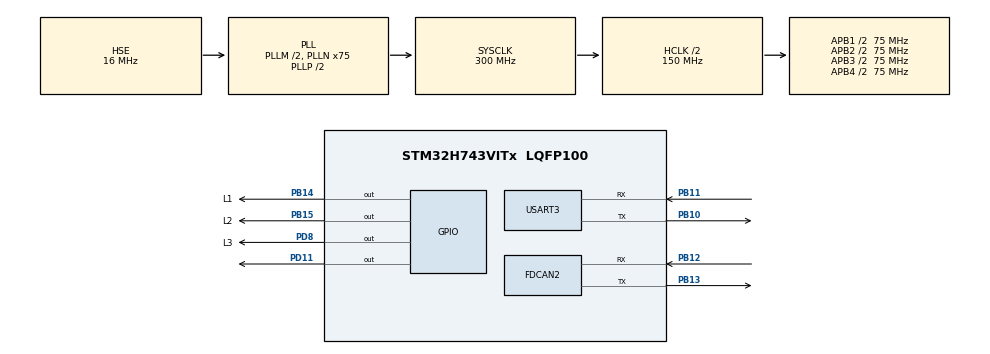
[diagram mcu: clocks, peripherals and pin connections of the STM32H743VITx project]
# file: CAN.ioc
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FDCAN2.AutoRetransmission=ENABLE
FDCAN2.CalculateBaudRateNominal=500000
FDCAN2.CalculateTimeBitNominal=2000
FDCAN2.CalculateTimeQuantumNominal=250.0
FDCAN2.DataPrescaler=1
FDCAN2.DataSyncJumpWidth=1
FDCAN2.DataTimeSeg1=1
FDCAN2.DataTimeSeg2=1
FDCAN2.FrameFormat=FDCAN_FRAME_FD_NO_BRS
FDCAN2.MessageRAMOffset=0
FDCAN2.NominalPrescaler=1
FDCAN2.NominalSyncJumpWidth=1
FDCAN2.NominalTimeSeg1=4
FDCAN2.NominalTimeSeg2=3
FDCAN2.RxFifo0ElmtSize=FDCAN_DATA_BYTES_8
FDCAN2.RxFifo0ElmtsNbr=0
FDCAN2.RxFifo1ElmtSize=FDCAN_DATA_BYTES_8
FDCAN2.StdFiltersNbr=0
FDCAN2.TxElmtSize=FDCAN_DATA_BYTES_8
FDCAN2.TxFifoQueueElmtsNbr=1
FDCAN2.TxFifoQueueMode=FDCAN_TX_FIFO_OPERATION
Mcu.Family=STM32H7
Mcu.Name=STM32H743VITx
Mcu.Package=LQFP100
NVIC.FDCAN2_IT0_IRQn=true\:0\:0\:false\:false\:true\:true\:true\:true
NVIC.PriorityGroup=NVIC_PRIORITYGROUP_4
PB10.Mode=Asynchronous
PB10.Signal=USART3_TX
PB11.Mode=Asynchronous
PB11.Signal=USART3_RX
PB12.Mode=FDCAN_Activate
PB12.Signal=FDCAN2_RX
PB13.Mode=FDCAN_Activate
PB13.Signal=FDCAN2_TX
PB14.GPIO_Label=L1
PB14.Signal=GPIO_Output
PB15.GPIO_Label=L2
PB15.Signal=GPIO_Output
PD11.Signal=GPIO_Output
PD8.GPIO_Label=L3
PD8.Signal=GPIO_Output
PH0-OSC_IN\ (PH0).Mode=HSE-External-Oscillator
PH0-OSC_IN\ (PH0).Signal=RCC_OSC_IN
PH1-OSC_OUT\ (PH1).Mode=HSE-External-Oscillator
PH1-OSC_OUT\ (PH1).Signal=RCC_OSC_OUT
ProjectManager.HeapSize=0x200
ProjectManager.StackSize=0x400
ProjectManager.TargetToolchain=STM32CubeIDE
RCC.ADCFreq_Value=80000000
RCC.APB1Freq_Value=75000000
RCC.APB2Freq_Value=75000000
RCC.APB3Freq_Value=75000000
RCC.APB4Freq_Value=75000000
RCC.CortexFreq_Value=300000000
RCC.D1PPRE=RCC_APB3_DIV2
RCC.D2PPRE1=RCC_APB1_DIV2
RCC.D2PPRE2=RCC_APB2_DIV2
RCC.D3PPRE=RCC_APB4_DIV2
RCC.DIVM1=2
RCC.DIVM2=2
RCC.DIVN1=75
RCC.DIVN2=20
RCC.DIVQ1=12
RCC.DIVQ2=40
RCC.FDCANCLockSelection=RCC_FDCANCLKSOURCE_PLL2
RCC.HCLKFreq_Value=150000000
RCC.HPRE=RCC_HCLK_DIV2
RCC.HSE_VALUE=16000000
RCC.PLLFRACN=0
RCC.PLLSourceVirtual=RCC_PLLSOURCE_HSE
RCC.SYSCLKFreq_VALUE=300000000
RCC.SYSCLKSource=RCC_SYSCLKSOURCE_PLLCLK
RCC.USBFreq_Value=50000000
USART3.VirtualMode-Asynchronous=VM_ASYNC
board=custom

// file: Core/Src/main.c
/* USER CODE BEGIN Header */
/**
  ******************************************************************************
  * @file           : main.c
  * @brief          : Main program body
  ******************************************************************************
  * @attention
  *
  * Copyright (c) 2023 STMicroelectronics.
  * All rights reserved.
  *
  * This software is licensed under terms that can be found in the LICENSE file
  * in the root directory of this software component.
  * If no LICENSE file comes with this software, it is provided AS-IS.
  *
  ******************************************************************************
  */
/* USER CODE END Header */
#include "main.h"

/* USER CODE BEGIN Includes */
#include "string.h"
/* USER CODE END Includes */

FDCAN_HandleTypeDef hfdcan2;

UART_HandleTypeDef huart3;

void SystemClock_Config(void);
static void MX_GPIO_Init(void);
static void MX_FDCAN2_Init(void);
static void MX_USART3_UART_Init(void);

/* USER CODE BEGIN 0 */
FDCAN_TxHeaderTypeDef TxHeader;

uint8_t TxData[8] = {0x01, 0x02, 0x03, 0x04, 0x05, 0x06, 0x07, 0x08};
uint8_t TxData1[8] = {0x08, 0x09, 0x10, 0x11, 0x12, 0x13, 0x14, 0x15};
uint8_t TxData3[8] = {0x16, 0x17, 0x18, 0x19, 0x20, 0x21, 0x22, 0x23};
uint32_t messageID = 0x123; // ID-ul mesajului

uint32_t TxMailbox;

void FDCAN2_SendMessage(uint32_t identifier, uint8_t *data, uint8_t dataLength) {

  TxHeader.Identifier = identifier;
  TxHeader.IdType = FDCAN_STANDARD_ID;
  TxHeader.TxFrameType = FDCAN_DATA_FRAME;
  TxHeader.DataLength = FDCAN_DLC_BYTES_8;

  HAL_FDCAN_AddMessageToTxFifoQ(&hfdcan2, &TxHeader, data);
}

/* USER CODE END 0 */

int main(void)
{

  /* MCU Configuration--------------------------------------------------------*/

  /* Reset of all peripherals, Initializes the Flash interface and the Systick. */
  HAL_Init();

  /* Configure the system clock */
  SystemClock_Config();

  /* Initialize all configured peripherals */
  MX_GPIO_Init();
  MX_FDCAN2_Init();
  MX_USART3_UART_Init();
  /* USER CODE BEGIN 2 */
  HAL_FDCAN_Start(&hfdcan2);

  FDCAN2_SendMessage(messageID, TxData1, sizeof(TxData));
  FDCAN2_SendMessage(messageID, TxData3, sizeof(TxData));
  /* USER CODE END 2 */

  /* Infinite loop */
  /* USER CODE BEGIN WHILE */
  while (1)
  {
	  FDCAN2_SendMessage(messageID, TxData3, sizeof(TxData3));
	  HAL_Delay(100);

    /* USER CODE END WHILE */

  }
}

void SystemClock_Config(void)
{
  RCC_OscInitTypeDef RCC_OscInitStruct = {0};
  RCC_ClkInitTypeDef RCC_ClkInitStruct = {0};

  /** Supply configuration update enable
  */
  HAL_PWREx_ConfigSupply(PWR_LDO_SUPPLY);

  /** Configure the main internal regulator output voltage
  */
  __HAL_PWR_VOLTAGESCALING_CONFIG(PWR_REGULATOR_VOLTAGE_SCALE2);

  while(!__HAL_PWR_GET_FLAG(PWR_FLAG_VOSRDY)) {}

  /** Initializes the RCC Oscillators according to the specified parameters
  * in the RCC_OscInitTypeDef structure.
  */
  RCC_OscInitStruct.OscillatorType = RCC_OSCILLATORTYPE_HSE;
  RCC_OscInitStruct.HSEState = RCC_HSE_ON;
  RCC_OscInitStruct.PLL.PLLState = RCC_PLL_ON;
  RCC_OscInitStruct.PLL.PLLSource = RCC_PLLSOURCE_HSE;
  RCC_OscInitStruct.PLL.PLLM = 2;
  RCC_OscInitStruct.PLL.PLLN = 75;
  RCC_OscInitStruct.PLL.PLLP = 2;
  RCC_OscInitStruct.PLL.PLLQ = 12;
  RCC_OscInitStruct.PLL.PLLR = 2;
  RCC_OscInitStruct.PLL.PLLRGE = RCC_PLL1VCIRANGE_3;
  RCC_OscInitStruct.PLL.PLLVCOSEL = RCC_PLL1VCOWIDE;
  RCC_OscInitStruct.PLL.PLLFRACN = 0;
  if (HAL_RCC_OscConfig(&RCC_OscInitStruct) != HAL_OK)
  {
    Error_Handler();
  }

  /** Initializes the CPU, AHB and APB buses clocks
  */
  RCC_ClkInitStruct.ClockType = RCC_CLOCKTYPE_HCLK|RCC_CLOCKTYPE_SYSCLK
                              |RCC_CLOCKTYPE_PCLK1|RCC_CLOCKTYPE_PCLK2
                              |RCC_CLOCKTYPE_D3PCLK1|RCC_CLOCKTYPE_D1PCLK1;
  RCC_ClkInitStruct.SYSCLKSource = RCC_SYSCLKSOURCE_PLLCLK;
  RCC_ClkInitStruct.SYSCLKDivider = RCC_SYSCLK_DIV1;
  RCC_ClkInitStruct.AHBCLKDivider = RCC_HCLK_DIV2;
  RCC_ClkInitStruct.APB3CLKDivider = RCC_APB3_DIV2;
  RCC_ClkInitStruct.APB1CLKDivider = RCC_APB1_DIV2;
  RCC_ClkInitStruct.APB2CLKDivider = RCC_APB2_DIV2;
  RCC_ClkInitStruct.APB4CLKDivider = RCC_APB4_DIV2;

  if (HAL_RCC_ClockConfig(&RCC_ClkInitStruct, FLASH_LATENCY_2) != HAL_OK)
  {
    Error_Handler();
  }
}

static void MX_FDCAN2_Init(void)
{

  hfdcan2.Instance = FDCAN2;
  hfdcan2.Init.FrameFormat = FDCAN_FRAME_FD_NO_BRS;
  hfdcan2.Init.Mode = FDCAN_MODE_NORMAL;
  hfdcan2.Init.AutoRetransmission = ENABLE;
  hfdcan2.Init.TransmitPause = DISABLE;
  hfdcan2.Init.ProtocolException = DISABLE;
  hfdcan2.Init.NominalPrescaler = 1;
  hfdcan2.Init.NominalSyncJumpWidth = 1;
  hfdcan2.Init.NominalTimeSeg1 = 4;
  hfdcan2.Init.NominalTimeSeg2 = 3;
  hfdcan2.Init.DataPrescaler = 1;
  hfdcan2.Init.DataSyncJumpWidth = 1;
  hfdcan2.Init.DataTimeSeg1 = 1;
  hfdcan2.Init.DataTimeSeg2 = 1;
  hfdcan2.Init.MessageRAMOffset = 0;
  hfdcan2.Init.StdFiltersNbr = 0;
  hfdcan2.Init.ExtFiltersNbr = 0;
  hfdcan2.Init.RxFifo0ElmtsNbr = 0;
  hfdcan2.Init.RxFifo0ElmtSize = FDCAN_DATA_BYTES_8;
  hfdcan2.Init.RxFifo1ElmtsNbr = 0;
  hfdcan2.Init.RxFifo1ElmtSize = FDCAN_DATA_BYTES_8;
  hfdcan2.Init.RxBuffersNbr = 0;
  hfdcan2.Init.RxBufferSize = FDCAN_DATA_BYTES_8;
  hfdcan2.Init.TxEventsNbr = 0;
  hfdcan2.Init.TxBuffersNbr = 0;
  hfdcan2.Init.TxFifoQueueElmtsNbr = 1;
  hfdcan2.Init.TxFifoQueueMode = FDCAN_TX_FIFO_OPERATION;
  hfdcan2.Init.TxElmtSize = FDCAN_DATA_BYTES_8;
  if (HAL_FDCAN_Init(&hfdcan2) != HAL_OK)
  {
    Error_Handler();
  }

}

static void MX_USART3_UART_Init(void)
{

  huart3.Instance = USART3;
  huart3.Init.BaudRate = 115200;
  huart3.Init.WordLength = UART_WORDLENGTH_8B;
  huart3.Init.StopBits = UART_STOPBITS_1;
  huart3.Init.Parity = UART_PARITY_NONE;
  huart3.Init.Mode = UART_MODE_TX_RX;
  huart3.Init.HwFlowCtl = UART_HWCONTROL_NONE;
  huart3.Init.OverSampling = UART_OVERSAMPLING_16;
  huart3.Init.OneBitSampling = UART_ONE_BIT_SAMPLE_DISABLE;
  huart3.Init.ClockPrescaler = UART_PRESCALER_DIV1;
  huart3.AdvancedInit.AdvFeatureInit = UART_ADVFEATURE_NO_INIT;
  if (HAL_UART_Init(&huart3) != HAL_OK)
  {
    Error_Handler();
  }
  if (HAL_UARTEx_SetTxFifoThreshold(&huart3, UART_TXFIFO_THRESHOLD_1_8) != HAL_OK)
  {
    Error_Handler();
  }
  if (HAL_UARTEx_SetRxFifoThreshold(&huart3, UART_RXFIFO_THRESHOLD_1_8) != HAL_OK)
  {
    Error_Handler();
  }
  if (HAL_UARTEx_DisableFifoMode(&huart3) != HAL_OK)
  {
    Error_Handler();
  }

}

static void MX_GPIO_Init(void)
{
  GPIO_InitTypeDef GPIO_InitStruct = {0};

  /* GPIO Ports Clock Enable */
  __HAL_RCC_GPIOH_CLK_ENABLE();
  __HAL_RCC_GPIOB_CLK_ENABLE();
  __HAL_RCC_GPIOD_CLK_ENABLE();

  /*Configure GPIO pin Output Level */
  HAL_GPIO_WritePin(GPIOB, L1_Pin|L2_Pin, GPIO_PIN_RESET);

  /*Configure GPIO pin Output Level */
  HAL_GPIO_WritePin(GPIOD, L3_Pin|GPIO_PIN_11, GPIO_PIN_RESET);

  /*Configure GPIO pins : L1_Pin L2_Pin */
  GPIO_InitStruct.Pin = L1_Pin|L2_Pin;
  GPIO_InitStruct.Mode = GPIO_MODE_OUTPUT_PP;
  GPIO_InitStruct.Pull = GPIO_NOPULL;
  GPIO_InitStruct.Speed = GPIO_SPEED_FREQ_LOW;
  HAL_GPIO_Init(GPIOB, &GPIO_InitStruct);

  /*Configure GPIO pins : L3_Pin PD11 */
  GPIO_InitStruct.Pin = L3_Pin|GPIO_PIN_11;
  GPIO_InitStruct.Mode = GPIO_MODE_OUTPUT_PP;
  GPIO_InitStruct.Pull = GPIO_NOPULL;
  GPIO_InitStruct.Speed = GPIO_SPEED_FREQ_LOW;
  HAL_GPIO_Init(GPIOD, &GPIO_InitStruct);

}

void Error_Handler(void)
{
  __disable_irq();
  while (1)
  {
  }
}
